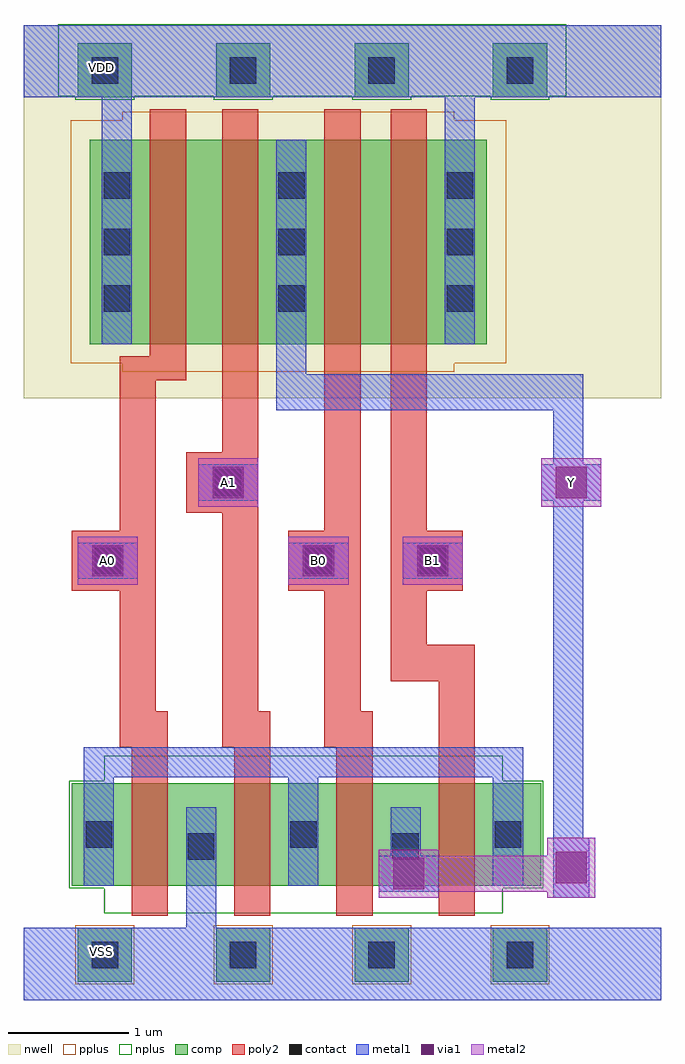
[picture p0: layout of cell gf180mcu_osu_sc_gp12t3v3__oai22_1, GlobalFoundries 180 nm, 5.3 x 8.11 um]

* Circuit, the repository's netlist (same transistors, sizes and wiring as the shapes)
* Copyright 2022 Google LLC
*
* Licensed under the Apache License, Version 2.0 (the "License");
* you may not use this file except in compliance with the License.
* You may obtain a copy of the License at
*
*      http://www.apache.org/licenses/LICENSE-2.0
*
* Unless required by applicable law or agreed to in writing, software
* distributed under the License is distributed on an "AS IS" BASIS,
* WITHOUT WARRANTIES OR CONDITIONS OF ANY KIND, either express or implied.
* See the License for the specific language governing permissions and
* limitations under the License.

.inc "/import/yukari1/lrburle/OSU_180/char/techfiles/design.hspice"
.lib "/import/yukari1/lrburle/OSU_180/char/techfiles/sm141064.hspice" typical

.GLOBAL VDD
.GLOBAL VSS

.option scale=0.05u

.subckt gf180mcu_osu_sc_gp12t3v3__oai22_1 Y A0 A1 B0 B1
X0 a_8_19 B1 Y VSS nmos_3p3 w=17 l=6
X1 Y B0 a_8_19 VSS nmos_3p3 w=17 l=6
X2 VSS A0 a_8_19 VSS nmos_3p3 w=17 l=6
X3 VDD B1 a_56_109 VDD pmos_3p3 w=34 l=6
X4 a_27_109 A0 VDD VDD pmos_3p3 w=34 l=6
X5 a_56_109 B0 Y VDD pmos_3p3 w=34 l=6
X6 Y A1 a_27_109 VDD pmos_3p3 w=34 l=6
X7 a_8_19 A1 VSS VSS nmos_3p3 w=17 l=6
.ends

** hspice subcircuit dictionary

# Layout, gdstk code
import gdstk
lib = gdstk.Library(unit=1e-6, precision=1e-09)
def R(c, l, rs):  # rectangles x0, y0, x1, y1
    for r in rs: c.add(gdstk.rectangle(r[:2], r[2:], *l))
def A(c, l, x, y, w, h, nx, ny, dx, dy):  # array of equal rectangles
    R(c, l, [(x+i*dx, y+j*dy, x+i*dx+w, y+j*dy+h) for i in range(nx) for j in range(ny)])
nwell = (21, 0)
comp = (22, 0)
poly2 = (30, 0)
pplus = (31, 0)
nplus = (32, 0)
contact = (33, 0)
metal1 = (34, 0)
via1 = (35, 0)
metal2 = (36, 0)

gf180mcu_osu_sc_gp12t3v3 = lib.new_cell('gf180mcu_osu_sc_gp12t3v3__oai22_1')
R(gf180mcu_osu_sc_gp12t3v3, nwell, [(0,5,5.3,8.1)])
A(gf180mcu_osu_sc_gp12t3v3, comp, 0.45, 0.15, 0.45, 0.45, 4, 2, 1.15, 7.35)
R(gf180mcu_osu_sc_gp12t3v3, comp, [(0.4,0.95,4.3,1.8), (0.55,5.45,3.85,7.15)])
A(gf180mcu_osu_sc_gp12t3v3, poly2, 0.9, 0.7, 0.3, 1.4, 3, 1, 0.85, 0)
A(gf180mcu_osu_sc_gp12t3v3, poly2, 0.8, 2.1, 0.4, 0.3, 3, 1, 0.85, 0)
R(gf180mcu_osu_sc_gp12t3v3, poly2, [(3.45,0.7,3.75,2.65), (0.8,2.4,1.1,3.4), (1.65,2.4,1.95,4.05), (2.5,2.4,2.8,3.4), (3.05,2.65,3.75,2.95), (3.05,2.95,3.35,3.4), (0.4,3.4,1.1,3.9), (2.2,3.4,2.8,3.9), (3.05,3.4,3.65,3.9), (0.8,3.9,1.1,5.15), (2.5,3.9,2.8,7.4), (3.05,3.9,3.35,7.4), (1.35,4.05,1.95,4.55), (1.65,4.55,1.95,7.4), (0.8,5.15,1.35,5.35), (1.05,5.35,1.35,7.4)])
A(gf180mcu_osu_sc_gp12t3v3, pplus, 0.43, 0.13, 0.49, 0.49, 4, 1, 1.15, 0)
R(gf180mcu_osu_sc_gp12t3v3, pplus, [(0.82,5.22,3.58,5.29), (0.39,5.29,4.01,7.31), (0.82,7.31,3.58,7.38)])
A(gf180mcu_osu_sc_gp12t3v3, nplus, 0.43, 7.48, 0.49, 0.03, 4, 1, 1.15, 0)
R(gf180mcu_osu_sc_gp12t3v3, nplus, [(0.67,0.72,3.98,0.93), (0.38,0.93,4.32,1.82), (0.67,1.82,3.98,2.03), (0.29,7.51,4.51,8.11)])
A(gf180mcu_osu_sc_gp12t3v3, contact, 0.565, 0.265, 0.22, 0.22, 4, 2, 1.15, 7.35)
A(gf180mcu_osu_sc_gp12t3v3, contact, 0.515, 1.265, 0.22, 0.22, 3, 1, 1.7, 0)
A(gf180mcu_osu_sc_gp12t3v3, contact, 0.665, 5.72, 0.22, 0.22, 1, 3, 0, 0.47)
A(gf180mcu_osu_sc_gp12t3v3, contact, 2.115, 5.72, 0.22, 0.22, 1, 3, 0, 0.47)
A(gf180mcu_osu_sc_gp12t3v3, contact, 3.515, 5.72, 0.22, 0.22, 1, 3, 0, 0.47)
R(gf180mcu_osu_sc_gp12t3v3, contact, [(1.365,1.165,1.585,1.385), (3.065,1.165,3.285,1.385), (0.59,3.54,0.81,3.76), (2.34,3.54,2.56,3.76), (3.29,3.54,3.51,3.76), (1.59,4.19,1.81,4.41)])
A(gf180mcu_osu_sc_gp12t3v3, metal1, 0.5, 0.95, 0.25, 0.9, 3, 1, 1.7, 0)
R(gf180mcu_osu_sc_gp12t3v3, metal1, [(0,0,5.3,0.6), (1.35,0.6,1.6,1.6), (4.4,0.85,4.7,1.35), (2.95,0.9,3.45,1.2), (3.05,1.2,3.3,1.6), (4.4,1.35,4.65,4.15), (0.5,1.85,4.15,2.1), (0.45,3.5,0.95,3.8), (2.2,3.5,2.7,3.8), (3.15,3.5,3.65,3.8), (1.45,4.15,1.95,4.45), (4.3,4.15,4.8,4.45), (4.4,4.45,4.65,4.9), (2.1,4.9,4.65,5.2), (2.1,5.2,2.35,7.15), (0.65,5.45,0.9,7.5), (3.5,5.45,3.75,7.5), (0,7.5,5.3,8.1)])
R(gf180mcu_osu_sc_gp12t3v3, via1, [(3.07,0.92,3.33,1.18), (4.42,0.97,4.68,1.23), (0.57,3.52,0.83,3.78), (2.32,3.52,2.58,3.78), (3.27,3.52,3.53,3.78), (1.57,4.17,1.83,4.43), (4.42,4.17,4.68,4.43)])
R(gf180mcu_osu_sc_gp12t3v3, metal2, [(2.95,0.85,3.45,0.9), (4.35,0.85,4.75,0.9), (2.95,0.9,4.75,1.2), (2.95,1.2,3.45,1.25), (4.35,1.2,4.75,1.35), (0.45,3.45,0.95,3.85), (2.2,3.45,2.7,3.85), (3.15,3.45,3.65,3.85), (1.45,4.1,1.95,4.5), (4.3,4.1,4.8,4.5)])
gf180mcu_osu_sc_gp12t3v3.add(gdstk.Label('VDD', (0.65,7.75), layer=34, texttype=0))
gf180mcu_osu_sc_gp12t3v3.add(gdstk.Label('VSS', (0.65,0.4), layer=34, texttype=0))
gf180mcu_osu_sc_gp12t3v3.add(gdstk.Label('Y', (4.55,4.3), layer=36, texttype=10))
gf180mcu_osu_sc_gp12t3v3.add(gdstk.Label('A0', (0.7,3.65), layer=36, texttype=10))
gf180mcu_osu_sc_gp12t3v3.add(gdstk.Label('A1', (1.7,4.3), layer=36, texttype=10))
gf180mcu_osu_sc_gp12t3v3.add(gdstk.Label('B0', (2.45,3.65), layer=36, texttype=10))
gf180mcu_osu_sc_gp12t3v3.add(gdstk.Label('B1', (3.4,3.65), layer=36, texttype=10))

lib.write_gds('gf180mcu_osu_sc_gp12t3v3__oai22_1.gds')
